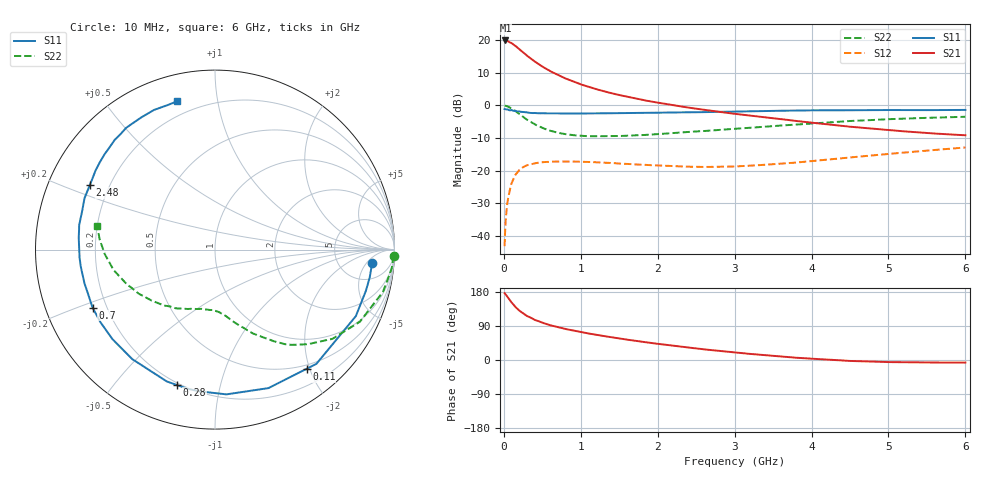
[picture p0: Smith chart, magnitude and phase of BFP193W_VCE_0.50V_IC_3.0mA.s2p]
! Infineon Technologies  Discrete & RF Semiconductors
! BFP193W
! VCE = 0.50V,  IC =  3.0 mA
! Common Emitter S-Parameters:  Jan 2016
# GHz  S  MA  R  50
!  f  S11  S21  S12  S22
! GHz  MAG  ANG  MAG  ANG  MAG  ANG  MAG  ANG
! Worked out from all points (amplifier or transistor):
!   210 points, 10 MHz to 6 GHz, reference 50 ohm
!   highest |S21| = 19.9 dB at 20 MHz (marker M1)
!   |S21| within 3 dB of that: start of sweep to 217 MHz
!   unconditionally stable (mu >= 1): 1.789 GHz to end of sweep
!   at 185 MHz: K = 0.12, MSG = 18.9 dB, |S12| = -20.3 dB
!   at 1.52 GHz: K = 0.86, MSG = 10.5 dB, |S12| = -17.9 dB
!   at 6 GHz: K = 1.18, MAG = -0.7 dB, |S12| = -12.9 dB
!   S11 on the Smith chart (normalised r, x): 10 MHz: 11, -7; 110 MHz: 0.44, -1.95; 280 MHz: 0.19, -0.74; 700 MHz: 0.15, -0.22; 2.48 GHz: 0.13, +0.24; 6 GHz: 0.13, +0.77
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0.01  0.8787 -5.0  9.88 176.3  0.0069 87.7  0.9955 -2.0
0.02  0.8758 -10.2  9.935 174.1  0.0141 83.7  0.9903 -5.9
0.05  0.8678 -25.3  9.717 165.4  0.0342 76.6  0.965 -14.1
0.1  0.8511 -48.4  9.054 152.0  0.0634 63.8  0.9022 -26.4
0.11  0.8378 -52.4  8.859 149.8  0.0677 61.2  0.8838 -28.4
0.15  0.8271 -68.9  8.224 140.0  0.0858 53.5  0.822 -37.2
0.2  0.8091 -85.5  7.313 130.5  0.1016 45.3  0.739 -45.5
0.28  0.7838 -105.7  6.082 119.0  0.1172 35.5  0.6295 -55.4
0.3  0.7821 -110.1  5.8 116.2  0.1203 33.5  0.6042 -57.5
0.4  0.7647 -127.0  4.726 106.0  0.1295 25.7  0.5123 -65.7
0.44  0.7584 -131.7  4.403 103.2  0.1313 23.6  0.4873 -67.8
0.5  0.7586 -138.8  3.942 98.2  0.1344 20.5  0.4513 -71.4
0.58  0.7549 -145.8  3.476 93.3  0.1361 17.2  0.4173 -75.3
0.7  0.7549 -154.7  2.947 86.7  0.1376 13.8  0.3801 -79.8
1.02  0.7518 -169.9  2.067 73.0  0.1361 7.6  0.3409 -90.1
1.42  0.759 177.2  1.519 59.3  0.1303 4.5  0.3389 -100.6
2.02  0.773 162.3  1.093 42.2  0.1196 6.0  0.3642 -114.7
2.48  0.7848 152.7  0.897 31.1  0.114 10.1  0.3967 -125.4
3.1  0.8086 141.1  0.72 18.1  0.117 18.9  0.4449 -139.2
4.1  0.8396 124.7  0.528 2.3  0.1434 28.8  0.5363 -160.7
5.1  0.8482 112.7  0.409 -5.7  0.1843 30.6  0.6196 -179.1
6  0.8525 104.5  0.348 -6.9  0.2258 28.1  0.6695 168.7
